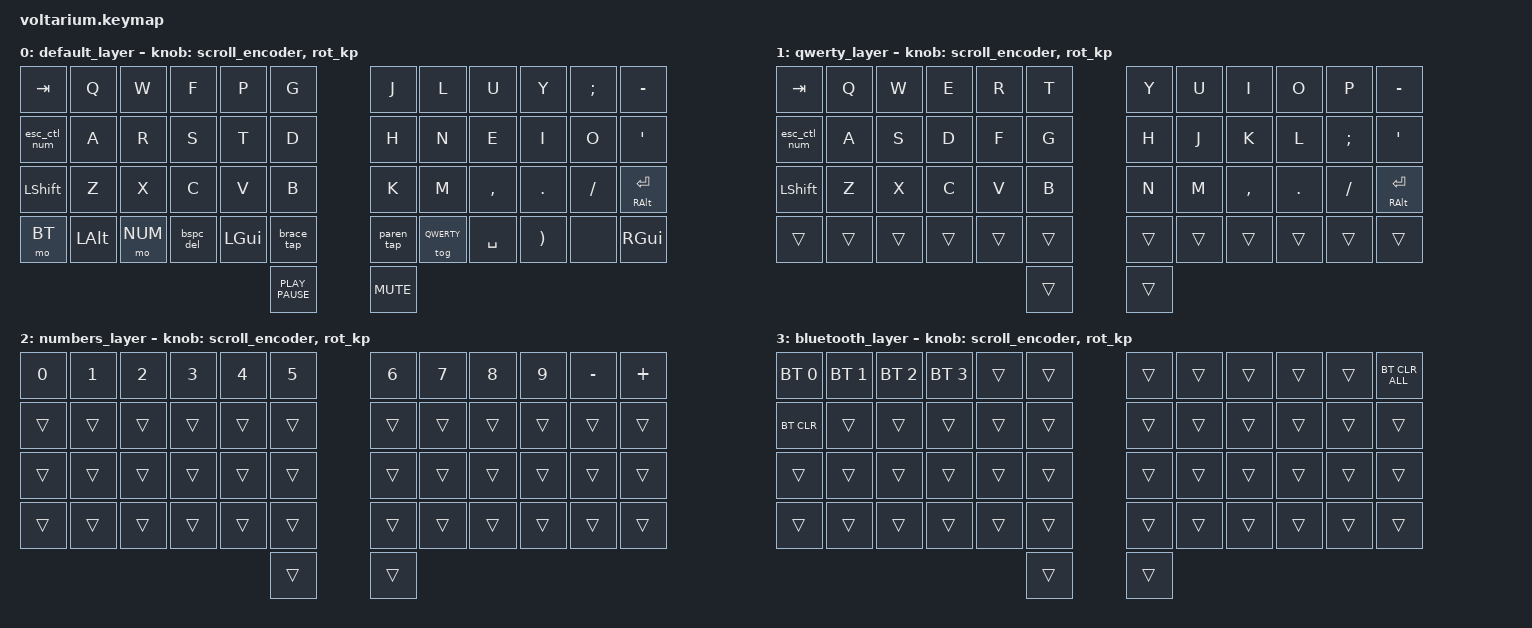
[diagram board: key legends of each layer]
#include <behaviors.dtsi>
#include <dt-bindings/zmk/keys.h>
#include <dt-bindings/zmk/bt.h>
#include <dt-bindings/zmk/outputs.h>
#include <dt-bindings/zmk/mouse.h>
#include <dt-bindings/zmk/ext_power.h>

#define DEFAULT 0
#define QWERTY 1
#define NUM 2
#define BT 3

/ {
	macros {
        alt_tab: alt_tab {
            compatible = "zmk,behavior-macro";
            #binding-cells = <0>;
            bindings
                = <&macro_press &kp LALT>
                , <&macro_tap &kp TAB>
                , <&macro_release &kp LALT>
                ;
        };
    };

	behaviors {
		rot_kp: rot_kp {
			compatible = "zmk,behavior-sensor-rotate";
			#sensor-binding-cells = <0>;
			bindings = <&kp K_VOL_DN>, <&kp K_VOL_UP>;
		};

		rot_pg_ud_kp: rot_pg_ud_kp {
			compatible = "zmk,behavior-sensor-rotate";
			#sensor-binding-cells = <0>;
			bindings = <&kp PG_DN>, <&kp PG_UP>;
		};

		scroll_encoder: scroll_encoder {
            compatible = "zmk,behavior-sensor-rotate";
            #sensor-binding-cells = <0>;
            bindings = <&msc MOVE_UP 5 5>, <&msc MOVE_DOWN 5 5>;
            tap-ms = <50>;
        };

		bspc_del: backspace_delete {
            compatible = "zmk,behavior-mod-morph";
            #binding-cells = <0>;
            bindings = <&kp BACKSPACE>, <&kp DELETE>;
            mods = <(MOD_LSFT|MOD_RSFT)>;
        };

		esc_ctl_num: tap_dance_0 {
			compatible = "zmk,behavior-tap-dance";
            #binding-cells = <0>;
            tapping-term-ms = <200>;
            bindings = <&mt LCTRL ESC>, <&tog NUM>;
		};
		
		brace_tap: tap_dance_1 {
			compatible = "zmk,behavior-tap-dance";
            #binding-cells = <0>;
            tapping-term-ms = <200>;
            bindings = <&kp LEFT_BRACE>, <&kp RIGHT_BRACE>;
		};

		paren_tap: tap_dance_2 {
			compatible = "zmk,behavior-tap-dance";
            #binding-cells = <0>;
            tapping-term-ms = <200>;
            bindings = <&kp LEFT_PARENTHESIS>, <&kp RIGHT_PARENTHESIS>;
		};
	};

	keymap {
		compatible = "zmk,keymap";
		
		default_layer {
			bindings = <
				&kp TAB &kp Q &kp W &kp F &kp P &kp G &kp J &kp L &kp U &kp Y &kp SEMI &kp MINUS
				&esc_ctl_num &kp A &kp R &kp S &kp T &kp D &kp H &kp N &kp E &kp I &kp O &kp APOS
				&kp LSHFT &kp Z &kp X &kp C &kp V &kp B &kp K &kp M &kp COMMA &kp PERIOD &kp FSLH &mt RALT RETURN	
				&mo BT &kp LALT &mo NUM &bspc_del &kp LGUI &brace_tap &paren_tap &tog QWERTY &kp SPACE &kp RIGHT_PARENTHESIS &none &kp RGUI
				&kp K_PLAY_PAUSE &kp K_MUTE
			>;
			sensor-bindings = <&scroll_encoder>, <&rot_kp>;
		};

		qwerty_layer {
			bindings = <
				&kp TAB &kp Q &kp W &kp E &kp R &kp T &kp Y &kp U &kp I &kp O &kp P &kp MINUS
				&esc_ctl_num &kp A &kp S &kp D &kp F &kp G &kp H &kp J &kp K &kp L &kp SEMI &kp APOS
				&kp LSHFT &kp Z &kp X &kp C &kp V &kp B &kp N &kp M &kp COMMA &kp PERIOD &kp FSLH &mt RALT RETURN	
				&trans &trans &trans &trans &trans &trans &trans &trans &trans &trans &trans &trans
				&trans &trans
			>;
			sensor-bindings = <&scroll_encoder>, <&rot_kp>;
		};

		numbers_layer {
			bindings = <
				&kp N0 &kp N1 &kp N2 &kp N3 &kp N4 &kp N5 &kp N6 &kp N7 &kp N8 &kp N9 &kp MINUS &kp PLUS
				&trans &trans &trans &trans &trans &trans &trans &trans &trans &trans &trans &trans
				&trans &trans &trans &trans &trans &trans &trans &trans &trans &trans &trans &trans
				&trans &trans &trans &trans &trans &trans &trans &trans &trans &trans &trans &trans
				&trans &trans
			>;
			sensor-bindings = <&scroll_encoder>, <&rot_kp>;

		};

		bluetooth_layer {
			bindings = <
				&bt BT_SEL 0 &bt BT_SEL 1 &bt BT_SEL 2 &bt BT_SEL 3 &trans &trans &trans &trans &trans &trans &trans &bt BT_CLR_ALL
				&bt BT_CLR &trans &trans &trans &trans &trans &trans &trans &trans &trans &trans &trans
				&trans &trans &trans &trans &trans &trans &trans &trans &trans &trans &trans &trans
				&trans &trans &trans &trans &trans &trans &trans &trans &trans &trans &trans &trans
				&trans &trans
			>;
			sensor-bindings = <&scroll_encoder>, <&rot_kp>;
		};
	};
};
